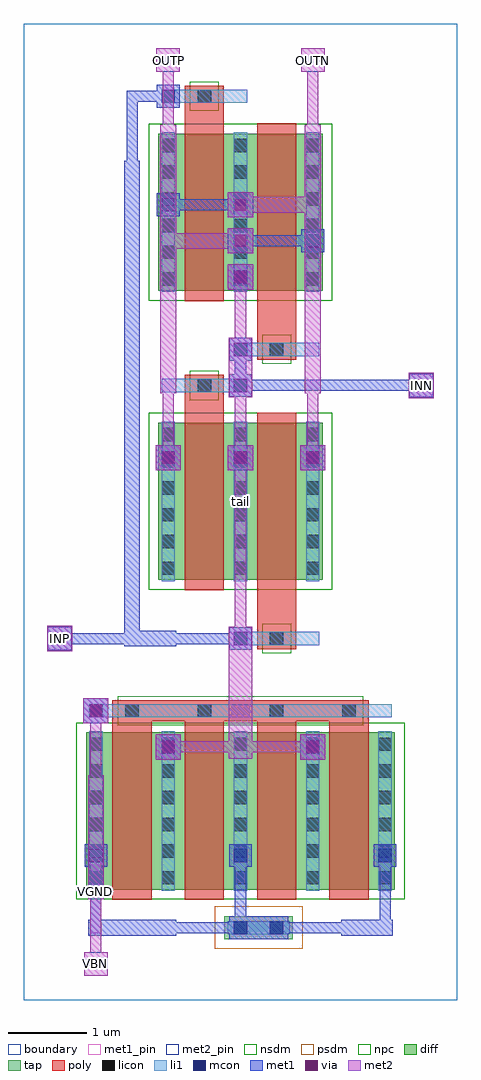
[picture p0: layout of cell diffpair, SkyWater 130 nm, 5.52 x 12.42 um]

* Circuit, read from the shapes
.subckt diffpair INN INP OUTN OUTP VBN VGND tail
XM1 tail VBN VGND VGND sky130_fd_pr__nfet_01v8 w=2 l=0.5 m=4
XM2 tail INN OUTP VGND sky130_fd_pr__nfet_01v8 w=2 l=0.5 m=2
XM3 tail INP OUTN VGND sky130_fd_pr__nfet_01v8 w=2 l=0.5 m=2
.ends

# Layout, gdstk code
import gdstk
lib = gdstk.Library(unit=1e-6, precision=1e-09)
def R(c, l, rs):  # rectangles x0, y0, x1, y1
    for r in rs: c.add(gdstk.rectangle(r[:2], r[2:], *l))
def A(c, l, x, y, w, h, nx, ny, dx, dy):  # array of equal rectangles
    R(c, l, [(x+i*dx, y+j*dy, x+i*dx+w, y+j*dy+h) for i in range(nx) for j in range(ny)])
diff = (65, 20)
tap = (65, 44)
poly = (66, 20)
licon = (66, 44)
li1 = (67, 20)
mcon = (67, 44)
met1_pin = (68, 16)
met1 = (68, 20)
via = (68, 44)
met2_pin = (69, 16)
met2 = (69, 20)
nsdm = (93, 44)
psdm = (94, 20)
npc = (95, 20)
boundary = (235, 4)

diffpair = lib.new_cell('diffpair')
R(diffpair, diff, [(0.795,1.405,4.725,3.405), (1.715,5.345,3.805,7.345), (1.715,9.025,3.805,11.025)])
R(diffpair, tap, [(2.555,0.775,3.425,1.065)])
A(diffpair, poly, 1.13, 1.275, 0.5, 2.405, 4, 1, 0.92, 0)
R(diffpair, poly, [(1.13,3.545,4.39,3.815), (2.97,4.465,3.47,4.735), (2.97,4.6,3.47,7.475), (2.05,5.215,2.55,7.82), (2.05,7.685,2.55,7.955), (2.97,8.145,3.47,8.415), (2.97,8.28,3.47,11.155), (2.05,8.895,2.55,11.5), (2.05,11.365,2.55,11.635)])
A(diffpair, licon, 3.135, 0.835, 0.17, 0.17, 1, 3, 0, 3.68)
A(diffpair, licon, 0.835, 1.47, 0.17, 0.17, 5, 6, 0.92, 0.34)
A(diffpair, licon, 1.295, 3.595, 0.17, 0.17, 4, 1, 0.92, 0)
A(diffpair, licon, 1.755, 5.41, 0.17, 0.17, 3, 6, 0.92, 0.34)
A(diffpair, licon, 1.755, 9.09, 0.17, 0.17, 3, 6, 0.92, 0.34)
R(diffpair, licon, [(2.675,0.835,2.845,1.005), (2.215,7.735,2.385,7.905), (2.215,11.415,2.385,11.585)])
A(diffpair, li1, 0.835, 1.39, 0.17, 2.03, 5, 1, 0.92, 0)
A(diffpair, li1, 1.755, 5.33, 0.17, 2.03, 3, 2, 0.92, 3.68)
R(diffpair, li1, [(2.595,0.835,3.385,1.005), (0.835,3.595,4.685,3.765), (2.675,4.515,3.765,4.685), (1.755,7.735,2.845,7.905), (2.675,8.195,3.765,8.365), (1.755,11.415,2.845,11.585)])
A(diffpair, mcon, 0.835, 1.755, 0.17, 0.17, 3, 1, 1.84, 0)
A(diffpair, mcon, 1.755, 6.815, 0.17, 0.17, 3, 1, 0.92, 0)
R(diffpair, mcon, [(2.675,0.835,2.845,1.005), (3.135,0.835,3.305,1.005), (1.755,3.135,1.925,3.305), (3.595,3.135,3.765,3.305), (0.835,3.595,1.005,3.765), (2.675,4.515,2.845,4.685), (2.675,7.735,2.845,7.905), (2.675,8.195,2.845,8.365), (2.675,9.115,2.845,9.285), (3.595,9.575,3.765,9.745), (1.755,10.035,1.925,10.205), (1.755,11.415,1.925,11.585)])
R(diffpair, met1_pin, [(0.85,0.85,0.99,1.91)])
A(diffpair, met1, 0.85, 0.85, 0.14, 1.06, 3, 1, 1.84, 0)
A(diffpair, met1, 0.775, 1.695, 0.29, 0.29, 3, 1, 1.84, 0)
A(diffpair, met1, 1.68, 6.74, 0.32, 0.32, 3, 1, 0.92, 0)
A(diffpair, met1, 1.695, 6.755, 0.29, 0.29, 3, 1, 0.92, 0)
A(diffpair, met1, 2.6, 9.04, 0.32, 0.32, 1, 3, 0, 0.46)
R(diffpair, met1, [(2.615,0.775,3.365,1.065), (0.82,0.82,1.94,1.02), (4.04,0.82,4.7,1.02), (1.77,0.85,2.83,0.99), (2.69,0.85,2.83,0.99), (2.69,0.85,4.21,0.99), (1.68,3.06,2,3.38), (3.52,3.06,3.84,3.38), (1.695,3.075,1.985,3.365), (3.535,3.075,3.825,3.365), (0.76,3.52,1.08,3.84), (0.775,3.535,1.065,3.825), (0.3,4.44,0.62,4.76), (2.615,4.455,2.905,4.745), (1.28,4.5,1.94,4.7), (1.28,4.5,1.48,10.68), (0.39,4.53,1.45,4.67), (1.77,4.53,2.83,4.67), (4.9,7.66,5.22,7.98), (2.615,7.675,2.905,7.965), (2.69,7.75,2.83,8.35), (2.69,7.75,5.13,7.89), (2.615,8.135,2.905,8.425), (2.615,9.055,2.905,9.345), (3.535,9.515,3.825,9.805), (2.69,9.59,3.75,9.73), (1.695,9.975,1.985,10.265), (1.77,10.05,2.83,10.19), (1.31,10.51,1.45,11.57), (1.695,11.355,1.985,11.645), (1.31,11.43,1.91,11.57)])
A(diffpair, via, 1.765, 6.825, 0.15, 0.15, 3, 1, 0.92, 0)
A(diffpair, via, 2.685, 9.125, 0.15, 0.15, 1, 3, 0, 0.46)
R(diffpair, via, [(1.765,3.145,1.915,3.295), (3.605,3.145,3.755,3.295), (0.845,3.605,0.995,3.755), (0.385,4.525,0.535,4.675), (4.985,7.745,5.135,7.895)])
R(diffpair, met2_pin, [(0.77,0.31,1.07,0.61), (0.31,4.45,0.61,4.75), (4.91,7.67,5.21,7.97), (1.69,11.81,1.99,12.11), (3.53,11.81,3.83,12.11)])
A(diffpair, met2, 1.68, 6.74, 0.32, 0.32, 3, 1, 0.92, 0)
A(diffpair, met2, 1.77, 6.83, 0.14, 1.06, 3, 1, 0.92, 0)
A(diffpair, met2, 2.6, 9.04, 0.32, 0.32, 1, 3, 0, 0.46)
R(diffpair, met2, [(0.77,0.31,1.07,0.61), (0.85,0.39,0.99,1.45), (0.85,0.39,0.99,0.53), (0.82,1.28,1.02,2.86), (0.85,2.69,0.99,3.75), (1.68,3.06,2,3.38), (3.52,3.06,3.84,3.38), (2.61,3.07,2.91,4.75), (1.77,3.15,2.83,3.29), (2.69,3.15,3.75,3.29), (0.76,3.52,1.08,3.84), (0.3,4.44,0.62,4.76), (0.31,4.45,0.61,4.75), (0.39,4.53,0.53,4.67), (2.69,4.53,2.83,6.97), (4.9,7.66,5.22,7.98), (2.61,7.67,2.91,8.43), (4.91,7.67,5.21,7.97), (1.74,7.72,1.94,11.14), (3.58,7.72,3.78,11.14), (4.99,7.75,5.13,7.89), (2.69,8.21,2.83,9.27), (1.74,9.56,2.86,9.76), (2.66,10.02,3.78,10.22), (1.77,10.97,1.91,12.03), (3.61,10.97,3.75,12.03), (1.69,11.81,1.99,12.11), (3.53,11.81,3.83,12.11), (1.77,11.89,1.91,12.03), (3.61,11.89,3.75,12.03)])
R(diffpair, nsdm, [(0.67,1.28,4.85,3.53), (1.59,5.22,3.93,7.47), (1.59,8.9,3.93,11.15)])
R(diffpair, psdm, [(2.43,0.65,3.55,1.19)])
R(diffpair, npc, [(1.195,3.495,4.325,3.865), (3.035,4.415,3.405,4.785), (2.115,7.635,2.485,8.005), (3.035,8.095,3.405,8.465), (2.115,11.315,2.485,11.685)])
R(diffpair, boundary, [(0,0,5.52,12.42)])
diffpair.add(gdstk.Label('tail', (2.76,6.345), layer=67, texttype=5))
diffpair.add(gdstk.Label('VGND', (0.92,1.38), layer=68, texttype=5))
diffpair.add(gdstk.Label('INP', (0.46,4.6), layer=69, texttype=5))
diffpair.add(gdstk.Label('INN', (5.06,7.82), layer=69, texttype=5))
diffpair.add(gdstk.Label('VBN', (0.92,0.46), layer=69, texttype=5))
diffpair.add(gdstk.Label('OUTP', (1.84,11.96), layer=69, texttype=5))
diffpair.add(gdstk.Label('OUTN', (3.68,11.96), layer=69, texttype=5))
diffpair.add(gdstk.Label('VGND', (0.92,1.38), layer=68, texttype=16))
diffpair.add(gdstk.Label('INP', (0.46,4.6), layer=69, texttype=16))
diffpair.add(gdstk.Label('INN', (5.06,7.82), layer=69, texttype=16))
diffpair.add(gdstk.Label('VBN', (0.92,0.46), layer=69, texttype=16))
diffpair.add(gdstk.Label('OUTP', (1.84,11.96), layer=69, texttype=16))
diffpair.add(gdstk.Label('OUTN', (3.68,11.96), layer=69, texttype=16))

lib.write_gds('diffpair.gds')
